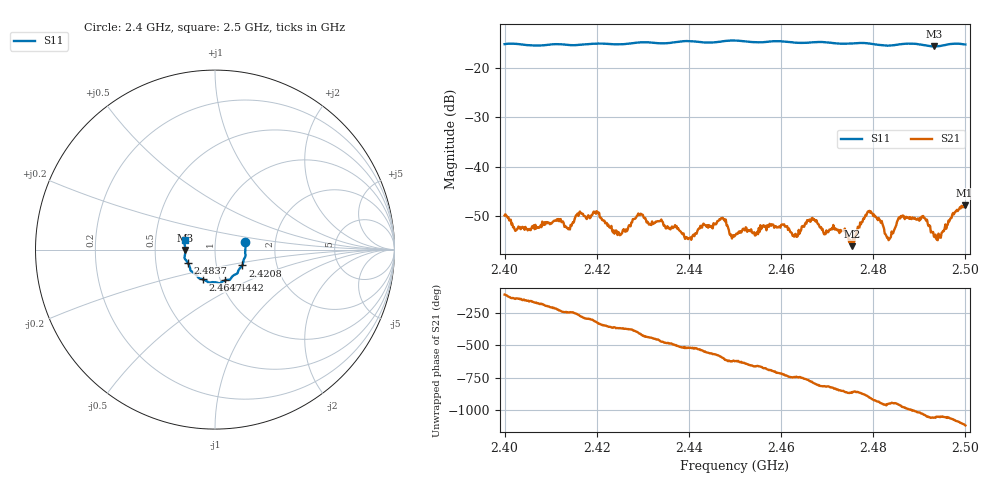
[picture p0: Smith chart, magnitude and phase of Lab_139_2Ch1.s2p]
# Hz S RI R 50
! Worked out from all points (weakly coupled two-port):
!   601 points, 2.4 GHz to 2.5 GHz, reference 50 ohm
!   highest |S21| = -47.75 dB at 2.4998 GHz (marker M1); lowest = -56.0 dB at 2.4753 GHz (marker M2)
!   lowest |S11| = -15.7 dB at 2.4932 GHz (marker M3), VSWR 1.39, Z = 35.8 - j0.13 ohm
!   |S11| at or under -10 dB: start of sweep to end of sweep
!   S12 and S22 are empty: the file has one direction only
!   S11 on the Smith chart (normalised r, x): 2.4 GHz: 1.40, +0.12; 2.4208 GHz: 1.33, -0.24; 2.4442 GHz: 1.05, -0.37; 2.4647 GHz: 0.83, -0.28; 2.4837 GHz: 0.73, -0.11; 2.5 GHz: 0.71, +0.08
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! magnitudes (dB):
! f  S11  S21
! 2.4 GHz  -15.2  -49.8
! 2.4052 GHz  -15.4  -52.7
! 2.4167 GHz  -15.3  -49.5
! 2.4208 GHz  -15.1  -50.2
! 2.425 GHz  -15.2  -53.8
! 2.4292 GHz  -14.9  -49.5
! 2.4333 GHz  -15.0  -51.0
! 2.44 GHz  -14.6  -54.4
! 2.4442 GHz  -14.9  -52.3
! 2.4475 GHz  -14.6  -50.6
! 2.45 GHz  -14.5  -53.9
! 2.4647 GHz  -14.9  -51.9
! 2.4667 GHz  -14.8  -50.4
! 2.4753 GHz  -15.1  -56.0
! 2.4792 GHz  -15.1  -48.9
! 2.4833 GHz  -15.5  -54.8
! 2.4837 GHz  -15.5  -54.4
! 2.4862 GHz  -15.2  -50.1
! 2.491 GHz  -15.4  -50.3
! 2.4932 GHz  -15.7  -54.1
! 2.4998 GHz  -15.2  -47.8
! 2.5 GHz  -15.3  -48.1
